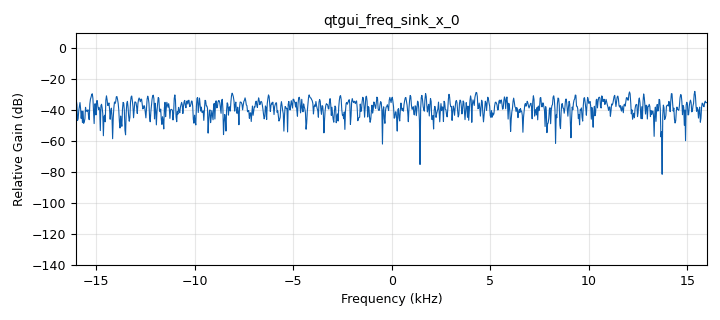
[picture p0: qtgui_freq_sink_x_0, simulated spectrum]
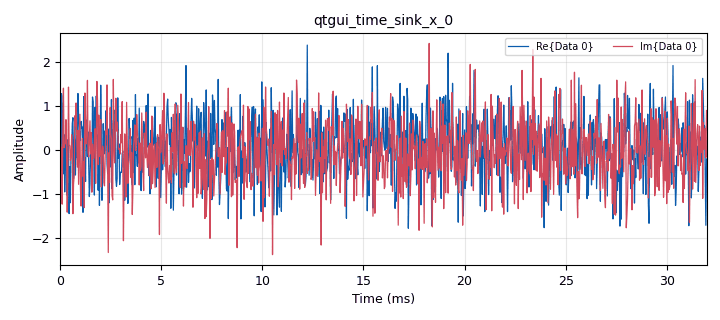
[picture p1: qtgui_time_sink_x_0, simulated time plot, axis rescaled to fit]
options:
  parameters:
    author: yuichkun
    generate_options: qt_gui
    id: pythonBlockMessagePassing
    output_language: python
    title: Not titled yet
  states: {}

blocks:
- name: samp_rate
  id: variable
  parameters:
    value: '32000'
  states: {}
- name: variable_qtgui_toggle_button_msg_0
  id: variable_qtgui_toggle_button_msg
  parameters:
    initPressed: 'False'
    label: Button
    pressed: '1'
    released: '0'
    type: bool
    value: '0'
  states: {state: disabled}
- name: analog_noise_source_x_0
  id: analog_noise_source_x
  parameters:
    amp: '1'
    noise_type: analog.GR_GAUSSIAN
    seed: '0'
    type: complex
  states: {}
- name: analog_sig_source_x_0
  id: analog_sig_source_x
  parameters:
    amp: '1'
    freq: '1000'
    offset: '0'
    phase: '0'
    samp_rate: samp_rate
    type: complex
    waveform: analog.GR_COS_WAVE
  states: {}
- name: blocks_message_debug_0
  id: blocks_message_debug
  parameters: {}
  states: {}
- name: blocks_message_debug_1
  id: blocks_message_debug
  parameters: {}
  states: {}
- name: blocks_throttle2_0
  id: blocks_throttle2
  parameters:
    samples_per_second: samp_rate
    type: complex
  states: {}
- name: epy_block_0
  id: epy_block
  parameters:
    _source_code: |
      """
      Embedded Python Blocks:

      Each time this file is saved, GRC will instantiate the first class it finds
      to get ports and parameters of your block. The arguments to __init__  will
      be the parameters. All of them are required to have default values!
      """

      import numpy as np
      import pmt
      from gnuradio import gr


      class blk(gr.sync_block):  # other base classes are basic_block, decim_block, interp_block
          """Embedded Python Block example - a simple multiply const"""

          def __init__(self):  # only default arguments here
              """arguments to this function show up as parameters in GRC"""
              gr.sync_block.__init__(
                  self,
                  name='Multiplexer',   # will show up in GRC
                  in_sig=[np.complex64, np.complex64],
                  out_sig=[np.complex64]
              )
              self.selectPortName = 'selectPort'
              self.message_port_register_in(pmt.intern(self.selectPortName))
              self.set_msg_handler(pmt.intern(self.selectPortName), self.handle_msg)
              self.selector = True

          def handle_msg(self, msg):
              self.selector = pmt.to_bool(msg)

          def work(self, input_items, output_items):
              if (self.selector):
                  output_items[0][:] = input_items[0]
              else:
                  output_items[0][:] = input_items[1]
              return len(output_items[0])
  states: {}
- name: epy_block_1
  id: epy_block
  parameters:
    _source_code: |
      """
      Embedded Python Blocks:

      Each time this file is saved, GRC will instantiate the first class it finds
      to get ports and parameters of your block. The arguments to __init__  will
      be the parameters. All of them are required to have default values!
      """

      import numpy as np
      import pmt
      from gnuradio import gr


      class blk(gr.sync_block):  # other base classes are basic_block, decim_block, interp_block
          """Embedded Python Block example - a simple multiply const"""

          def __init__(self, num_samples_to_count=128):  # only default arguments here
              """arguments to this function show up as parameters in GRC"""
              gr.sync_block.__init__(
                  self,
                  name='Selector Control',   # will show up in GRC
                  in_sig=[np.complex64],
                  out_sig=[np.complex64]
              )
              # if an attribute with the same name as a parameter is found,
              # a callback is registered (properties work, too).
              self.num_samples_to_count = num_samples_to_count
              self.portName = 'messageOutput'
              self.message_port_register_out(pmt.intern(self.portName))
              self.state = True
              self.counter = 0

          def work(self, input_items, output_items):
              """example: multiply with constant"""
              self.counter = self.counter + len(output_items[0])

              if (self.counter > self.num_samples_to_count):
                  msg = pmt.from_bool(self.state)
                  self.message_port_pub(pmt.intern(self.portName), msg)
                  self.state = not(self.state)
                  self.counter = 0

              output_items[0][:] = input_items[0]
              return len(output_items[0])
    num_samples_to_count: '32000'
  states: {}
- name: qtgui_freq_sink_x_0
  id: qtgui_freq_sink_x
  parameters:
    bw: samp_rate
    fc: '0'
    fftsize: '1024'
    type: complex
  states: {}
- name: qtgui_time_sink_x_0
  id: qtgui_time_sink_x
  parameters:
    size: '1024'
    srate: samp_rate
    type: complex
  states: {}
- name: virtual_sink_0
  id: virtual_sink
  parameters:
    stream_id: message
  states: {}
- name: virtual_source_0
  id: virtual_source
  parameters:
    stream_id: message
  states: {}

connections:
- [analog_noise_source_x_0, '0', epy_block_0, '0']
- [analog_sig_source_x_0, '0', epy_block_0, '1']
- [blocks_throttle2_0, '0', qtgui_freq_sink_x_0, '0']
- [blocks_throttle2_0, '0', qtgui_time_sink_x_0, '0']
- [epy_block_0, '0', epy_block_1, '0']
- [epy_block_1, '0', blocks_throttle2_0, '0']
- [epy_block_1, messageOutput, blocks_message_debug_1, log]
- [epy_block_1, messageOutput, virtual_sink_0, '0']
- [variable_qtgui_toggle_button_msg_0, state, epy_block_0, selectPort]
- [virtual_source_0, '0', epy_block_0, selectPort]

metadata:
  file_format: 1
  grc_version: 3.10.10.0
